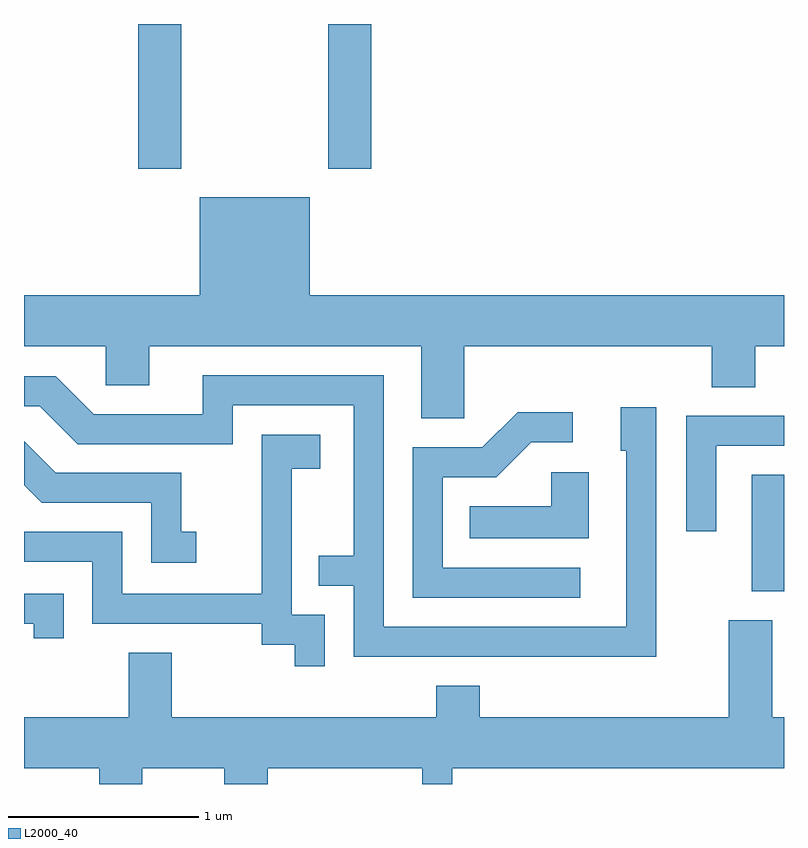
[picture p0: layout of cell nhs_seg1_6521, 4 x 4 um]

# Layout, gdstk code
import gdstk
lib = gdstk.Library(unit=1e-6, precision=1e-09)
def R(c, l, rs):  # rectangles x0, y0, x1, y1
    for r in rs: c.add(gdstk.rectangle(r[:2], r[2:], *l))
def P(c, l, *ps):  # polygons
    for p in ps: c.add(gdstk.Polygon(p, *l))
L2000_40 = (2000, 40)

nhs_seg1_6521 = lib.new_cell('nhs_seg1_6521')
R(nhs_seg1_6521, L2000_40, [(385.441,902.726,385.611,903.339), (382.211,904.951,382.439,905.712), (383.211,904.951,383.439,905.712)])
P(nhs_seg1_6521, L2000_40, [(383.701,903.636),(383.929,903.636),(383.929,904.016),(385.231,904.016),(385.231,903.801),(385.459,903.801),(385.459,904.016),(385.611,904.016),(385.611,904.284),(383.114,904.284),(383.114,904.799),(382.536,904.799),(382.536,904.284),(381.611,904.284),(381.611,904.016),(382.041,904.016),(382.041,903.811),(382.269,903.811),(382.269,904.016),(383.701,904.016)],
  [(384.939,903.694),(384.751,903.694),(384.751,903.466),(384.781,903.466),(384.781,902.539),(383.504,902.539),(383.504,903.864),(382.551,903.864),(382.551,903.659),(381.977,903.659),(381.777,903.859),(381.611,903.859),(381.611,903.701),(381.694,903.701),(381.894,903.501),(382.709,903.501),(382.709,903.706),(383.346,903.706),(383.346,902.914),(383.163,902.914),(383.163,902.756),(383.346,902.756),(383.346,902.381),(384.939,902.381)],
  [(384.538,902.849),(383.814,902.849),(383.814,903.326),(384.097,903.326),(384.282,903.511),(384.498,903.511),(384.498,903.669),(384.209,903.669),(384.024,903.484),(383.656,903.484),(383.656,902.691),(384.538,902.691)],
  [(385.254,903.491),(385.611,903.491),(385.611,903.649),(385.096,903.649),(385.096,903.043),(385.254,903.043)],
  [(383.194,902.604),(383.019,902.604),(383.019,903.371),(383.169,903.371),(383.169,903.549),(382.861,903.549),(382.861,902.714),(382.129,902.714),(382.129,903.039),(381.611,903.039),(381.611,902.881),(381.971,902.881),(381.971,902.556),(382.861,902.556),(382.861,902.446),(383.036,902.446),(383.036,902.333),(383.194,902.333)],
  [(382.518,903.039),(382.439,903.039),(382.439,903.349),(381.777,903.349),(381.611,903.515),(381.611,903.284),(381.704,903.191),(382.281,903.191),(382.281,902.876),(382.518,902.876)],
  [(384.584,903.354),(384.386,903.354),(384.386,903.174),(383.958,903.174),(383.958,903.006),(384.584,903.006)],
  [(381.819,902.714),(381.611,902.714),(381.611,902.556),(381.661,902.556),(381.661,902.478),(381.819,902.478)],
  [(382.234,901.796),(382.666,901.796),(382.666,901.712),(382.894,901.712),(382.894,901.796),(383.706,901.796),(383.706,901.712),(383.864,901.712),(383.864,901.796),(385.611,901.796),(385.611,902.064),(385.549,902.064),(385.549,902.574),(385.321,902.574),(385.321,902.064),(384.009,902.064),(384.009,902.229),(383.781,902.229),(383.781,902.064),(382.389,902.064),(382.389,902.404),(382.161,902.404),(382.161,902.064),(381.611,902.064),(381.611,901.796),(382.006,901.796),(382.006,901.712),(382.234,901.712)])

lib.write_gds('nhs_seg1_6521.gds')
